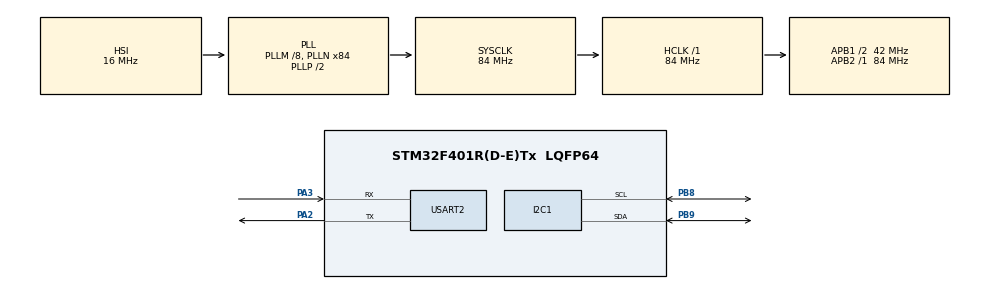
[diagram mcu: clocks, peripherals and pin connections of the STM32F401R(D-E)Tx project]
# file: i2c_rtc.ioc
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Mcu.Family=STM32F4
RCC.CortexFreq_Value=84000000
RCC.APB1CLKDivider=RCC_HCLK_DIV2
NVIC.USART2_IRQn=true\:0\:0\:false\:false\:true\:true\:true
RCC.SYSCLKSource=RCC_SYSCLKSOURCE_PLLCLK
ProjectManager.StackSize=0x400
PA13.Signal=SYS_JTMS-SWDIO
PA3.Mode=Asynchronous
ProjectManager.TargetToolchain=STM32CubeIDE
RCC.HCLKFreq_Value=84000000
PB9.Mode=I2C
RCC.APB2TimFreq_Value=84000000
RCC.LSE_VALUE=32768
RCC.AHBFreq_Value=84000000
RCC.HSE_VALUE=25000000
board=custom
RCC.VCOOutputFreq_Value=168000000
RCC.APB2Freq_Value=84000000
PA14.Mode=Serial_Wire
PA13.Mode=Serial_Wire
Mcu.Name=STM32F401R(D-E)Tx
PA2.Signal=USART2_TX
RCC.48MHZClocksFreq_Value=42000000
RCC.SYSCLKFreq_VALUE=84000000
PB9.Signal=I2C1_SDA
Mcu.Package=LQFP64
USART2.VirtualMode=VM_ASYNC
PA14.Signal=SYS_JTCK-SWCLK
ProjectManager.HeapSize=0x200
RCC.HSI_VALUE=16000000
NVIC.PriorityGroup=NVIC_PRIORITYGROUP_4
RCC.PLLM=8
PB8.Mode=I2C
RCC.PLLN=84
RCC.APB1TimFreq_Value=84000000
PB8.Signal=I2C1_SCL
PA2.Mode=Asynchronous
RCC.APB1Freq_Value=42000000
PB4.Signal=I2C3_SDA
PA3.Signal=USART2_RX

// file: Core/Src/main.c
/* USER CODE BEGIN Header */
/**
  ******************************************************************************
  * @file           : main.c
  * @brief          : Main program body
  ******************************************************************************
  * @attention
  *
  * <h2><center>&copy; Copyright (c) 2021 STMicroelectronics.
  * All rights reserved.</center></h2>
  *
  * This software component is licensed by ST under BSD 3-Clause license,
  * the "License"; You may not use this file except in compliance with the
  * License. You may obtain a copy of the License at:
  *                        opensource.org/licenses/BSD-3-Clause
  *
  ******************************************************************************
  */
/* USER CODE END Header */
#include "main.h"
#include "i2c.h"
#include "usart.h"
#include "gpio.h"

/* USER CODE BEGIN Includes */
#include <stdio.h>
/* USER CODE END Includes */

void SystemClock_Config(void);

/* USER CODE BEGIN 0 */

//extern UART_HandleTypeDef huart2;

uint8_t UARTDataRX = 0;

typedef enum DeviceState{
  WaitInput,
  ProcessCommand,
  WriteNumbers,
  SymbolReceive
}DeviceState;

DeviceState state;

int __io_putchar(int ch)
{
  char v;
  v = (uint8_t )ch;
  return HAL_UART_Transmit(&huart2, (uint8_t *)&v, 1 ,1000);
}

int __io_getchar(void)
{
  uint8_t ch = 0;
  // Clear the Overrun flag just before receiving the first character
  __HAL_UART_CLEAR_FLAG(&huart2, UART_FLAG_ORE);

  HAL_UART_Receive(&huart2, (uint8_t *)&ch, 1, 0xFFFF);
  HAL_UART_Transmit(&huart2, (uint8_t *)&ch, 1, 0xFFFF);
  return ch;
}

void HAL_UART_ErrorCallback(UART_HandleTypeDef *huart)
{
  if(huart->Instance == USART2)
  {
      printf("\nGet uart error\n");
  }
}

void UARTReceiveEnable(void)
{
  HAL_UART_Receive_IT(&huart2, (uint8_t*)&UARTDataRX, 1);
}

void HAL_UART_RxCpltCallback(UART_HandleTypeDef *huart)
{
  if(huart->Instance == USART2)
  {
    state = SymbolReceive;
    HAL_UART_Transmit(&huart2, &UARTDataRX, 1, 100);
    UARTReceiveEnable();
  }
}

uint8_t greeting[] = {
    "\r\n\r\n\r\n\r\n\r\n\r\n\r\nRTC I2C Example\r\n\r\n\r\n"
};

char * days[] = {"Sunday", "Monday", "Tuesday", "Wednesday", "Thursday", "Friday", "Saturday"};
char * monthes[] = {"Dec", "Jan", "Feb", "Mar", "Apr", "May", "Jun", "Jul", "Aug", "Sep", "Oct", "Nov"};
#include "DS1307.h"
/* USER CODE END 0 */

int main(void)
{

  /* MCU Configuration--------------------------------------------------------*/

  /* Reset of all peripherals, Initializes the Flash interface and the Systick. */
  HAL_Init();

  /* Configure the system clock */
  SystemClock_Config();

  /* Initialize all configured peripherals */
  MX_GPIO_Init();
  MX_USART2_UART_Init();
  MX_I2C1_Init();
  /* USER CODE BEGIN 2 */
  rtcInit(&hi2c1);
  //setDateTime("2021-06-03 12:21:10", DS1307_MINIMAL_BUFFER_LENGTH);
//  setDayOfWeek('4');

  uint8_t buffer[100] = {0};
  char * p;
  p = (char*)buffer;
  getDateTime(p, 100);

  /* USER CODE END 2 */

  /* Infinite loop */
  /* USER CODE BEGIN WHILE */
  printf("%s", greeting);

  while (1)
  {

      HAL_Delay(1000);

//      DD-MM-YY Day-Date-Month-Year

//      getDateTime(p, 100);
      printf("%d-%d-%d %s-%d-%s-%d\r\n", getMonthDay(), getMonth(), getYear()-2000, days[getDayOfWeek()], getMonthDay(), monthes[getMonth()], getYear());
//      printf("%s\r\n", getMonth());

    /* USER CODE END WHILE */

  }
}

void SystemClock_Config(void)
{
  RCC_OscInitTypeDef RCC_OscInitStruct = {0};
  RCC_ClkInitTypeDef RCC_ClkInitStruct = {0};

  /** Configure the main internal regulator output voltage
  */
  __HAL_RCC_PWR_CLK_ENABLE();
  __HAL_PWR_VOLTAGESCALING_CONFIG(PWR_REGULATOR_VOLTAGE_SCALE2);
  /** Initializes the RCC Oscillators according to the specified parameters
  * in the RCC_OscInitTypeDef structure.
  */
  RCC_OscInitStruct.OscillatorType = RCC_OSCILLATORTYPE_HSI;
  RCC_OscInitStruct.HSIState = RCC_HSI_ON;
  RCC_OscInitStruct.HSICalibrationValue = RCC_HSICALIBRATION_DEFAULT;
  RCC_OscInitStruct.PLL.PLLState = RCC_PLL_ON;
  RCC_OscInitStruct.PLL.PLLSource = RCC_PLLSOURCE_HSI;
  RCC_OscInitStruct.PLL.PLLM = 8;
  RCC_OscInitStruct.PLL.PLLN = 84;
  RCC_OscInitStruct.PLL.PLLP = RCC_PLLP_DIV2;
  RCC_OscInitStruct.PLL.PLLQ = 4;
  if (HAL_RCC_OscConfig(&RCC_OscInitStruct) != HAL_OK)
  {
    Error_Handler();
  }
  /** Initializes the CPU, AHB and APB buses clocks
  */
  RCC_ClkInitStruct.ClockType = RCC_CLOCKTYPE_HCLK|RCC_CLOCKTYPE_SYSCLK
                              |RCC_CLOCKTYPE_PCLK1|RCC_CLOCKTYPE_PCLK2;
  RCC_ClkInitStruct.SYSCLKSource = RCC_SYSCLKSOURCE_PLLCLK;
  RCC_ClkInitStruct.AHBCLKDivider = RCC_SYSCLK_DIV1;
  RCC_ClkInitStruct.APB1CLKDivider = RCC_HCLK_DIV2;
  RCC_ClkInitStruct.APB2CLKDivider = RCC_HCLK_DIV1;

  if (HAL_RCC_ClockConfig(&RCC_ClkInitStruct, FLASH_LATENCY_2) != HAL_OK)
  {
    Error_Handler();
  }
}

void Error_Handler(void)
{
  __disable_irq();
  while (1)
  {
  }
}

/************************ (C) COPYRIGHT STMicroelectronics *****END OF FILE****/
